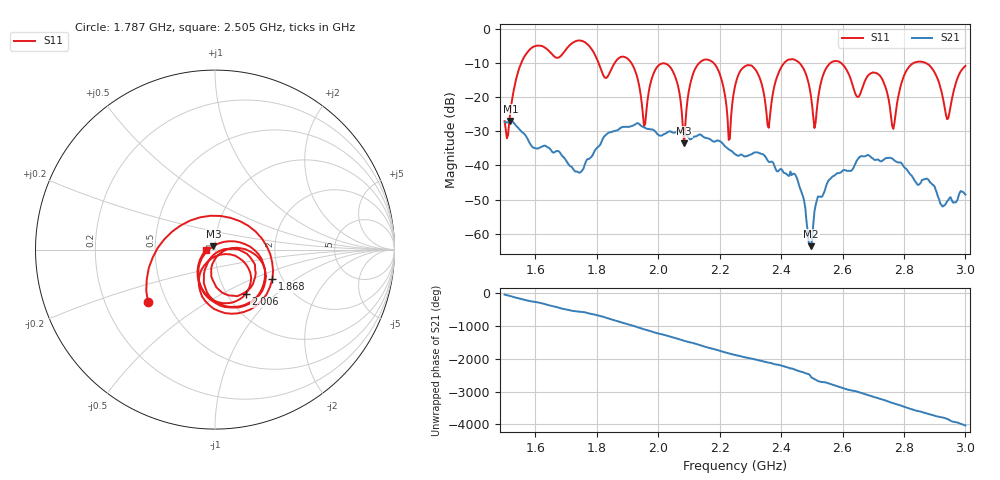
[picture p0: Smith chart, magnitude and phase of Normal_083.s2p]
# HZ S RI R 50
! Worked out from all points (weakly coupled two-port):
!   404 points, 1.5 GHz to 3 GHz, reference 50 ohm
!   highest |S21| = -26.99 dB at 1.519 GHz (marker M1); lowest = -63.6 dB at 2.498 GHz (marker M2)
!   lowest |S11| = -33.5 dB at 2.084 GHz (marker M3), VSWR 1.04, Z = 49 + j1.86 ohm
!   |S11| at or under -10 dB: 1.912 GHz to 2.134 GHz (222.4 MHz wide, 11 % of centre); 2.18 GHz to 2.411 GHz (231.2 MHz wide, 10.1 % of centre); 2.594 GHz to 2.833 GHz (238.9 MHz wide, 8.8 % of centre) (the widest 3 of 7)
!   S12 and S22 are empty: the file has one direction only
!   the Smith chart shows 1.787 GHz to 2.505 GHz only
!   S11 on the Smith chart (normalised r, x): 1.787 GHz: 0.39, -0.30; 1.868 GHz: 1.78, -0.67; 2.006 GHz: 1.21, -0.66; 2.505 GHz: 0.90, -0.00
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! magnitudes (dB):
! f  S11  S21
! 1.5 GHz  -27.0  -27.2
! 1.519 GHz  -24.4  -27.0
! 1.582 GHz  -6.1  -33.5
! 1.753 GHz  -3.6  -41.4
! 1.787 GHz  -6.5  -37.0
! 1.868 GHz  -8.9  -29.7
! 1.954 GHz  -28.6  -28.9
! 2.002 GHz  -10.7  -31.2
! 2.006 GHz  -10.4  -31.3
! 2.084 GHz  -33.5  -30.6
! 2.14 GHz  -9.6  -31.1
! 2.23 GHz  -32.5  -35.3
! 2.252 GHz  -16.2  -36.8
! 2.36 GHz  -29.0  -38.9
! 2.445 GHz  -9.2  -42.6
! 2.498 GHz  -19.9  -63.6
! 2.501 GHz  -22.6  -61.2
! 2.505 GHz  -26.0  -57.1
! 2.576 GHz  -9.5  -42.8
! 2.751 GHz  -20.9  -37.8
! 2.944 GHz  -26.2  -50.1
! 3 GHz  -10.9  -48.5
